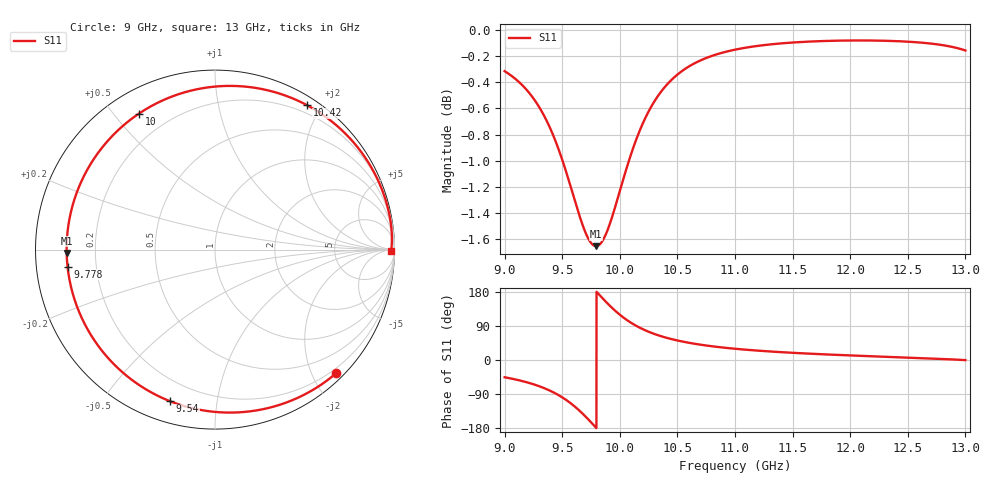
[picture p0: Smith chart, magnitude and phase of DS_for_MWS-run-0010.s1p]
! TOUCHSTONE file generated by CST DESIGN STUDIO
! Date and time: Tue Feb  4 18:22:21 2025
! Project name: C:\Work\MatlabApps\UnitCellOptimizationMatlab\CST\unitcell.cst
! Tree item: Tasks\Sweep1\SPara1\S-Parameters
! Header version: 2024
! Port assignment regex: !\s*Touchstone port\s*([0-9]+)\s*=\s*(CST MWS port|CST DES external port|CST DES block port)\s*(.+)\s* \(\"(.*)\"\)(\s*mode\s*([0-9]+))?.*
! Touchstone port assignment:
! Touchstone port 1 = CST DES external port 1 ("")
# GHz S MA R 50
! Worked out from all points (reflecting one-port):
!   4001 points, 9 GHz to 13 GHz, reference 50 ohm
!   lowest |S11| = -1.7 dB at 9.794 GHz (marker M1), VSWR 10.54, Z = 4.74 - j0.569 ohm
!   phase of S11 starts at -46 deg and turns -315 deg over the sweep
!   S11 on the Smith chart (normalised r, x): 9 GHz: 0.12, -2.38; 9.54 GHz: 0.10, -0.74; 9.778 GHz: 0.09, -0.06; 10 GHz: 0.09, +0.58; 10.42 GHz: 0.10, +1.82; 13 GHz: open
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9  0.9643 -45.6
9.143  0.9535 -54.8
9.274  0.9382 -66.4
9.388  0.9186 -80.1
9.448  0.9054 -89.3
9.5  0.8921 -98.5
9.54  0.8809 -106.6
9.599  0.8636 -120.3
9.655  0.8478 -135.2
9.721  0.8332 -155.0
9.778  0.827 -173.4
9.794  0.8267 -178.7
9.838  0.8291 166.8
9.884  0.8364 152.1
9.943  0.8509 134.6
10  0.8678 119.5
10.001  0.8681 119.3
10.075  0.8901 102.7
10.161  0.9124 87.2
10.284  0.9365 70.5
10.42  0.9541 57.4
10.5  0.9614 51.5
10.717  0.9742 39.6
11  0.9827 29.7
11.5  0.9889 19.0
12  0.9907 12.1
12.5  0.9896 6.4
13  0.982 -0.3
